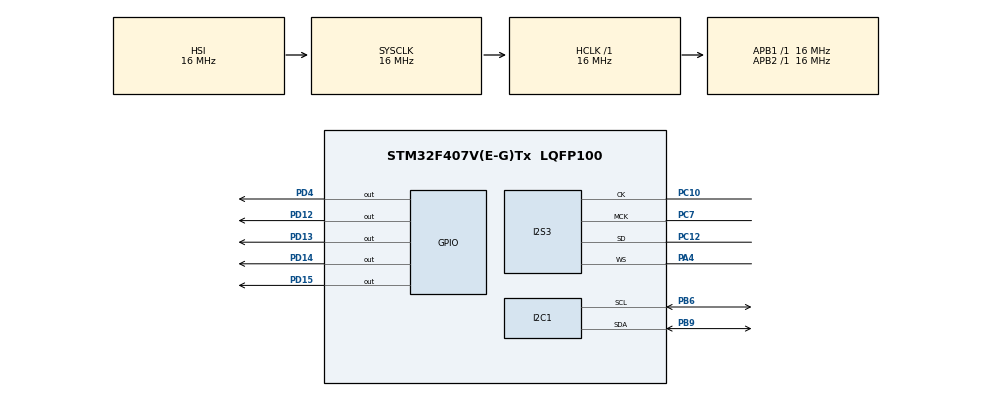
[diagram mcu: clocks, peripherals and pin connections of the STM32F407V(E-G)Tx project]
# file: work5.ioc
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Dma.Request0=SPI3_TX
Dma.SPI3_TX.0.Direction=DMA_MEMORY_TO_PERIPH
Dma.SPI3_TX.0.FIFOMode=DMA_FIFOMODE_ENABLE
Dma.SPI3_TX.0.FIFOThreshold=DMA_FIFO_THRESHOLD_FULL
Dma.SPI3_TX.0.Instance=DMA1_Stream5
Dma.SPI3_TX.0.MemBurst=DMA_MBURST_SINGLE
Dma.SPI3_TX.0.MemDataAlignment=DMA_MDATAALIGN_HALFWORD
Dma.SPI3_TX.0.MemInc=DMA_MINC_ENABLE
Dma.SPI3_TX.0.Mode=DMA_CIRCULAR
Dma.SPI3_TX.0.PeriphBurst=DMA_PBURST_SINGLE
Dma.SPI3_TX.0.PeriphDataAlignment=DMA_PDATAALIGN_HALFWORD
Dma.SPI3_TX.0.PeriphInc=DMA_PINC_DISABLE
Dma.SPI3_TX.0.Priority=DMA_PRIORITY_LOW
I2S3.AudioFreq=I2S_AUDIOFREQ_48K
I2S3.ErrorAudioFreq=-2.34 %
I2S3.FullDuplexMode=I2S_FULLDUPLEXMODE_DISABLE
I2S3.Instance=SPI$Index
I2S3.RealAudioFreq=46.875 KHz
I2S3.VirtualMode=I2S_MODE_MASTER
Mcu.Family=STM32F4
Mcu.Name=STM32F407V(E-G)Tx
Mcu.Package=LQFP100
NVIC.DMA1_Stream5_IRQn=true\:0\:0\:false\:false\:true\:false\:true\:true
NVIC.PriorityGroup=NVIC_PRIORITYGROUP_4
PA4.Mode=Half_Duplex_Master
PA4.Signal=I2S3_WS
PB6.Mode=I2C
PB6.Signal=I2C1_SCL
PB9.Mode=I2C
PB9.Signal=I2C1_SDA
PC10.Mode=Half_Duplex_Master
PC10.Signal=I2S3_CK
PC12.Mode=Half_Duplex_Master
PC12.Signal=I2S3_SD
PC7.Mode=Master_Clock_Activated
PC7.Signal=I2S3_MCK
PD12.Signal=GPIO_Output
PD13.Signal=GPIO_Output
PD14.Signal=GPIO_Output
PD15.Signal=GPIO_Output
PD4.Signal=GPIO_Output
ProjectManager.HeapSize=0x200
ProjectManager.StackSize=0x400
ProjectManager.TargetToolchain=STM32CubeIDE
RCC.AHBFreq_Value=16000000
RCC.APB1Freq_Value=16000000
RCC.APB2Freq_Value=16000000
RCC.CortexFreq_Value=16000000
RCC.HSE_VALUE=25000000
RCC.HSI_VALUE=16000000
RCC.LSE_VALUE=32768
RCC.SYSCLKFreq_VALUE=16000000
RCC.VCOOutputFreq_Value=192000000
board=custom

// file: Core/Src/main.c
/* USER CODE BEGIN Header */
/**
  ******************************************************************************
  * @file           : main.c
  * @brief          : Main program body
  ******************************************************************************
  * @attention
  *
  * Copyright (c) 2023 STMicroelectronics.
  * All rights reserved.
  *
  * This software is licensed under terms that can be found in the LICENSE file
  * in the root directory of this software component.
  * If no LICENSE file comes with this software, it is provided AS-IS.
  *
  ******************************************************************************
  */
/* USER CODE END Header */
#include "main.h"

/* USER CODE BEGIN PTD */

typedef enum
{
	D3, C5, D5, E5, F5, G5, A5, B5,
	MAX_VALUE
} soundToneType;

/* USER CODE END PTD */

/* USER CODE BEGIN PD */

#define CS43L22_I2C_ADDRESS		0x94
#define I2C_TIMEOUT				10

/* USER CODE END PD */

I2C_HandleTypeDef hi2c1;

I2S_HandleTypeDef hi2s3;
DMA_HandleTypeDef hdma_spi3_tx;

/* USER CODE BEGIN PV */

int16_t dataI2S[100] = {0};

/* USER CODE END PV */

void SystemClock_Config(void);
static void MX_GPIO_Init(void);
static void MX_DMA_Init(void);
static void MX_I2C1_Init(void);
static void MX_I2S3_Init(void);

/* USER CODE BEGIN 0 */

void CS43L22_Init(void)
{
	// Enable chip
	HAL_GPIO_WritePin(GPIOD, GPIO_PIN_4, GPIO_PIN_SET);

	//
	// Initialization
	//
	uint8_t TxBuffer[2];

	TxBuffer[0] = 0x0D;
	TxBuffer[1] = 0x01;
	HAL_I2C_Master_Transmit(&hi2c1, CS43L22_I2C_ADDRESS, (uint8_t*) &TxBuffer, 2, I2C_TIMEOUT);

	TxBuffer[0] = 0x00;
	TxBuffer[1] = 0x99;
	HAL_I2C_Master_Transmit(&hi2c1, CS43L22_I2C_ADDRESS, (uint8_t*) &TxBuffer, 2, I2C_TIMEOUT);

	TxBuffer[0] = 0x47;
	TxBuffer[1] = 0x80;
	HAL_I2C_Master_Transmit(&hi2c1, CS43L22_I2C_ADDRESS, (uint8_t*) &TxBuffer, 2, I2C_TIMEOUT);

	TxBuffer[0] = 0x32;
	TxBuffer[1] = 0xFF;
	HAL_I2C_Master_Transmit(&hi2c1, CS43L22_I2C_ADDRESS, (uint8_t*) &TxBuffer, 2, I2C_TIMEOUT);

	TxBuffer[0] = 0x32;
	TxBuffer[1] = 0x7F;
	HAL_I2C_Master_Transmit(&hi2c1, CS43L22_I2C_ADDRESS, (uint8_t*) &TxBuffer, 2, I2C_TIMEOUT);

	TxBuffer[0] = 0x00;
	TxBuffer[1] = 0x00;
	HAL_I2C_Master_Transmit(&hi2c1, CS43L22_I2C_ADDRESS, (uint8_t*) &TxBuffer, 2, I2C_TIMEOUT);

	TxBuffer[0] = 0x04;
	TxBuffer[1] = 0xAF;
	HAL_I2C_Master_Transmit(&hi2c1, CS43L22_I2C_ADDRESS, (uint8_t*) &TxBuffer, 2, I2C_TIMEOUT);

	TxBuffer[0] = 0x0D;
	TxBuffer[1] = 0x70;
	HAL_I2C_Master_Transmit(&hi2c1, CS43L22_I2C_ADDRESS, (uint8_t*) &TxBuffer, 2, I2C_TIMEOUT);

	TxBuffer[0] = 0x05;
	TxBuffer[1] = 0x81;
	HAL_I2C_Master_Transmit(&hi2c1, CS43L22_I2C_ADDRESS, (uint8_t*) &TxBuffer, 2, I2C_TIMEOUT);

	TxBuffer[0] = 0x06;
	TxBuffer[1] = 0x07;
	HAL_I2C_Master_Transmit(&hi2c1, CS43L22_I2C_ADDRESS, (uint8_t*) &TxBuffer, 2, I2C_TIMEOUT);

	TxBuffer[0] = 0x0A;
	TxBuffer[1] = 0x00;
	HAL_I2C_Master_Transmit(&hi2c1, CS43L22_I2C_ADDRESS, (uint8_t*) &TxBuffer, 2, I2C_TIMEOUT);

	TxBuffer[0] = 0x27;
	TxBuffer[1] = 0x00;
	HAL_I2C_Master_Transmit(&hi2c1, CS43L22_I2C_ADDRESS, (uint8_t*) &TxBuffer, 2, I2C_TIMEOUT);

	TxBuffer[0] = 0x1A;
	TxBuffer[1] = 0x0A;
	HAL_I2C_Master_Transmit(&hi2c1, CS43L22_I2C_ADDRESS, (uint8_t*) &TxBuffer, 2, I2C_TIMEOUT);

	TxBuffer[0] = 0x1B;
	TxBuffer[1] = 0x0A;
	HAL_I2C_Master_Transmit(&hi2c1, CS43L22_I2C_ADDRESS, (uint8_t*) &TxBuffer, 2, I2C_TIMEOUT);

	TxBuffer[0] = 0x1F;
	TxBuffer[1] = 0x0F;
	HAL_I2C_Master_Transmit(&hi2c1, CS43L22_I2C_ADDRESS, (uint8_t*) &TxBuffer, 2, I2C_TIMEOUT);

	TxBuffer[0] = 0x02;
	TxBuffer[1] = 0x9E;
	HAL_I2C_Master_Transmit(&hi2c1, CS43L22_I2C_ADDRESS, (uint8_t*) &TxBuffer, 2, I2C_TIMEOUT);
}

void CS43L22_Beep(soundToneType pitch, uint32_t duration_ms, uint32_t timeout)
{
	uint8_t TxBuffer[2];

	// Set volume and off time
	TxBuffer[0] = 0x1D;		// Register address
	TxBuffer[1] = 0x00;		// Value (volume and off time)
	HAL_I2C_Master_Transmit(&hi2c1, CS43L22_I2C_ADDRESS, (uint8_t*) &TxBuffer, 2, I2C_TIMEOUT);

	// Set sound frequency
	TxBuffer[0] = 0x1C;		// Register address
	switch (pitch)
		{
			case D3:
				TxBuffer[1] = 0x00;		// Value (frequency and on time)
				HAL_GPIO_WritePin(GPIOD, GPIO_PIN_15, GPIO_PIN_SET);
				HAL_GPIO_WritePin(GPIOD, GPIO_PIN_14 | GPIO_PIN_13 | GPIO_PIN_12, GPIO_PIN_RESET);
				break;
			// Assume C4 for all other cases
			case C5:
				TxBuffer[1] = 0x11;		// Value (frequency and on time)
				HAL_GPIO_WritePin(GPIOD, GPIO_PIN_14, GPIO_PIN_SET);
				HAL_GPIO_WritePin(GPIOD, GPIO_PIN_15 | GPIO_PIN_13 | GPIO_PIN_12, GPIO_PIN_RESET);
				break;
			case D5:
				TxBuffer[1] = 0x22;		// Value (frequency and on time)
				HAL_GPIO_WritePin(GPIOD, GPIO_PIN_13, GPIO_PIN_SET);
				HAL_GPIO_WritePin(GPIOD, GPIO_PIN_14 | GPIO_PIN_15 | GPIO_PIN_12, GPIO_PIN_RESET);
				break;
			case E5:
				TxBuffer[1] = 0x44;		// Value (frequency and on time)
				HAL_GPIO_WritePin(GPIOD, GPIO_PIN_12, GPIO_PIN_SET);
				HAL_GPIO_WritePin(GPIOD, GPIO_PIN_14 | GPIO_PIN_13 | GPIO_PIN_15, GPIO_PIN_RESET);
				break;
			case F5:
				TxBuffer[1] = 0x66;		// Value (frequency and on time)
				HAL_GPIO_WritePin(GPIOD, GPIO_PIN_15 | GPIO_PIN_14, GPIO_PIN_SET);
				HAL_GPIO_WritePin(GPIOD, GPIO_PIN_13 | GPIO_PIN_12, GPIO_PIN_RESET);
				break;
			case G5:
				TxBuffer[1] = 0x77;		// Value (frequency and on time)
				HAL_GPIO_WritePin(GPIOD, GPIO_PIN_13 | GPIO_PIN_12, GPIO_PIN_SET);
				HAL_GPIO_WritePin(GPIOD, GPIO_PIN_15 | GPIO_PIN_14, GPIO_PIN_RESET);
				break;
			case A5:
				TxBuffer[1] = 0x88;		// Value (frequency and on time)
				HAL_GPIO_WritePin(GPIOD, GPIO_PIN_15 | GPIO_PIN_12, GPIO_PIN_SET);
				HAL_GPIO_WritePin(GPIOD, GPIO_PIN_13 | GPIO_PIN_14, GPIO_PIN_RESET);
				break;
			case B5:
				TxBuffer[1] = 0xBB;		// Value (frequency and on time)
				HAL_GPIO_WritePin(GPIOD, GPIO_PIN_14 | GPIO_PIN_13, GPIO_PIN_SET);
				HAL_GPIO_WritePin(GPIOD, GPIO_PIN_15 | GPIO_PIN_12, GPIO_PIN_RESET);
				break;
			case MAX_VALUE:
			default:
				TxBuffer[1] = 0x00;		// Value (frequency and on time)
				HAL_GPIO_WritePin(GPIOD, GPIO_PIN_14 | GPIO_PIN_13 | GPIO_PIN_15 | GPIO_PIN_12, GPIO_PIN_RESET);
				break;
		}
	HAL_I2C_Master_Transmit(&hi2c1, CS43L22_I2C_ADDRESS, (uint8_t*) &TxBuffer, 2, I2C_TIMEOUT);

	// Enable continuous mode (SOUND STARTED)
	TxBuffer[0] = 0x1E;		// Register address
	TxBuffer[1] = 0xC0;		// Value (beep and tone configuration)
	HAL_I2C_Master_Transmit(&hi2c1, CS43L22_I2C_ADDRESS, (uint8_t*) &TxBuffer, 2, I2C_TIMEOUT);

	// Playing...
	HAL_Delay(duration_ms);

	// Disable continuous mode (SOUND STOPED)
	TxBuffer[0] = 0x1E;		// Register address
	TxBuffer[1] = 0x00;		// Value (beep and tone configuration)
	HAL_I2C_Master_Transmit(&hi2c1, CS43L22_I2C_ADDRESS, (uint8_t*) &TxBuffer, 2, I2C_TIMEOUT);

	// Delay...
    HAL_Delay(timeout);
}

/* USER CODE END 0 */

int main(void)
{

  /* MCU Configuration--------------------------------------------------------*/

  /* Reset of all peripherals, Initializes the Flash interface and the Systick. */
  HAL_Init();

  /* Configure the system clock */
  SystemClock_Config();

  /* Initialize all configured peripherals */
  MX_GPIO_Init();
  MX_DMA_Init();
  MX_I2C1_Init();
  MX_I2S3_Init();
  /* USER CODE BEGIN 2 */

  // Init DAC
  CS43L22_Init();

  // Transmit empty data
  HAL_I2S_Transmit_DMA(&hi2s3, (uint16_t *)dataI2S, 100);

  /* USER CODE END 2 */

  /* Infinite loop */
  while (1)
  {

    /* USER CODE BEGIN 3 */
	  CS43L22_Beep(D3, 1000, 400);
	  CS43L22_Beep(C5, 1000, 650);
	  CS43L22_Beep(D5, 1000, 550);
	  CS43L22_Beep(E5, 1000, 450);
	  CS43L22_Beep(F5, 1000, 480);
	  CS43L22_Beep(G5, 1000, 300);
	  CS43L22_Beep(A5, 1000, 250);
	  CS43L22_Beep(B5, 1000, 100);
  }
  /* USER CODE END 3 */
}

void SystemClock_Config(void)
{
  RCC_OscInitTypeDef RCC_OscInitStruct = {0};
  RCC_ClkInitTypeDef RCC_ClkInitStruct = {0};

  /** Macro to configure the PLL multiplication factor
  */
  __HAL_RCC_PLL_PLLM_CONFIG(16);

  /** Macro to configure the PLL clock source
  */
  __HAL_RCC_PLL_PLLSOURCE_CONFIG(RCC_PLLSOURCE_HSI);

  /** Configure the main internal regulator output voltage
  */
  __HAL_RCC_PWR_CLK_ENABLE();
  __HAL_PWR_VOLTAGESCALING_CONFIG(PWR_REGULATOR_VOLTAGE_SCALE1);

  /** Initializes the RCC Oscillators according to the specified parameters
  * in the RCC_OscInitTypeDef structure.
  */
  RCC_OscInitStruct.OscillatorType = RCC_OSCILLATORTYPE_HSI;
  RCC_OscInitStruct.HSIState = RCC_HSI_ON;
  RCC_OscInitStruct.HSICalibrationValue = RCC_HSICALIBRATION_DEFAULT;
  RCC_OscInitStruct.PLL.PLLState = RCC_PLL_NONE;
  RCC_OscInitStruct.PLL.PLLSource = RCC_PLLSOURCE_HSI;
  if (HAL_RCC_OscConfig(&RCC_OscInitStruct) != HAL_OK)
  {
    Error_Handler();
  }

  /** Initializes the CPU, AHB and APB buses clocks
  */
  RCC_ClkInitStruct.ClockType = RCC_CLOCKTYPE_HCLK|RCC_CLOCKTYPE_SYSCLK
                              |RCC_CLOCKTYPE_PCLK1|RCC_CLOCKTYPE_PCLK2;
  RCC_ClkInitStruct.SYSCLKSource = RCC_SYSCLKSOURCE_HSI;
  RCC_ClkInitStruct.AHBCLKDivider = RCC_SYSCLK_DIV1;
  RCC_ClkInitStruct.APB1CLKDivider = RCC_HCLK_DIV1;
  RCC_ClkInitStruct.APB2CLKDivider = RCC_HCLK_DIV1;

  if (HAL_RCC_ClockConfig(&RCC_ClkInitStruct, FLASH_LATENCY_0) != HAL_OK)
  {
    Error_Handler();
  }
}

static void MX_I2C1_Init(void)
{

  hi2c1.Instance = I2C1;
  hi2c1.Init.ClockSpeed = 100000;
  hi2c1.Init.DutyCycle = I2C_DUTYCYCLE_2;
  hi2c1.Init.OwnAddress1 = 0;
  hi2c1.Init.AddressingMode = I2C_ADDRESSINGMODE_7BIT;
  hi2c1.Init.DualAddressMode = I2C_DUALADDRESS_DISABLE;
  hi2c1.Init.OwnAddress2 = 0;
  hi2c1.Init.GeneralCallMode = I2C_GENERALCALL_DISABLE;
  hi2c1.Init.NoStretchMode = I2C_NOSTRETCH_DISABLE;
  if (HAL_I2C_Init(&hi2c1) != HAL_OK)
  {
    Error_Handler();
  }

}

static void MX_I2S3_Init(void)
{

  hi2s3.Instance = SPI3;
  hi2s3.Init.Mode = I2S_MODE_MASTER_TX;
  hi2s3.Init.Standard = I2S_STANDARD_PHILIPS;
  hi2s3.Init.DataFormat = I2S_DATAFORMAT_16B;
  hi2s3.Init.MCLKOutput = I2S_MCLKOUTPUT_ENABLE;
  hi2s3.Init.AudioFreq = I2S_AUDIOFREQ_48K;
  hi2s3.Init.CPOL = I2S_CPOL_LOW;
  hi2s3.Init.ClockSource = I2S_CLOCK_PLL;
  hi2s3.Init.FullDuplexMode = I2S_FULLDUPLEXMODE_DISABLE;
  if (HAL_I2S_Init(&hi2s3) != HAL_OK)
  {
    Error_Handler();
  }

}

static void MX_DMA_Init(void)
{

  /* DMA controller clock enable */
  __HAL_RCC_DMA1_CLK_ENABLE();

  /* DMA interrupt init */
  /* DMA1_Stream5_IRQn interrupt configuration */
  HAL_NVIC_SetPriority(DMA1_Stream5_IRQn, 0, 0);
  HAL_NVIC_EnableIRQ(DMA1_Stream5_IRQn);

}

static void MX_GPIO_Init(void)
{
  GPIO_InitTypeDef GPIO_InitStruct = {0};

  /* GPIO Ports Clock Enable */
  __HAL_RCC_GPIOA_CLK_ENABLE();
  __HAL_RCC_GPIOD_CLK_ENABLE();
  __HAL_RCC_GPIOC_CLK_ENABLE();
  __HAL_RCC_GPIOB_CLK_ENABLE();

  /*Configure GPIO pin Output Level */
  HAL_GPIO_WritePin(GPIOD, GPIO_PIN_12|GPIO_PIN_13|GPIO_PIN_14|GPIO_PIN_15
                          |GPIO_PIN_4, GPIO_PIN_RESET);

  /*Configure GPIO pins : PD12 PD13 PD14 PD15
                           PD4 */
  GPIO_InitStruct.Pin = GPIO_PIN_12|GPIO_PIN_13|GPIO_PIN_14|GPIO_PIN_15
                          |GPIO_PIN_4;
  GPIO_InitStruct.Mode = GPIO_MODE_OUTPUT_PP;
  GPIO_InitStruct.Pull = GPIO_NOPULL;
  GPIO_InitStruct.Speed = GPIO_SPEED_FREQ_LOW;
  HAL_GPIO_Init(GPIOD, &GPIO_InitStruct);

}

void Error_Handler(void)
{
  __disable_irq();
  while (1)
  {
  }
}
